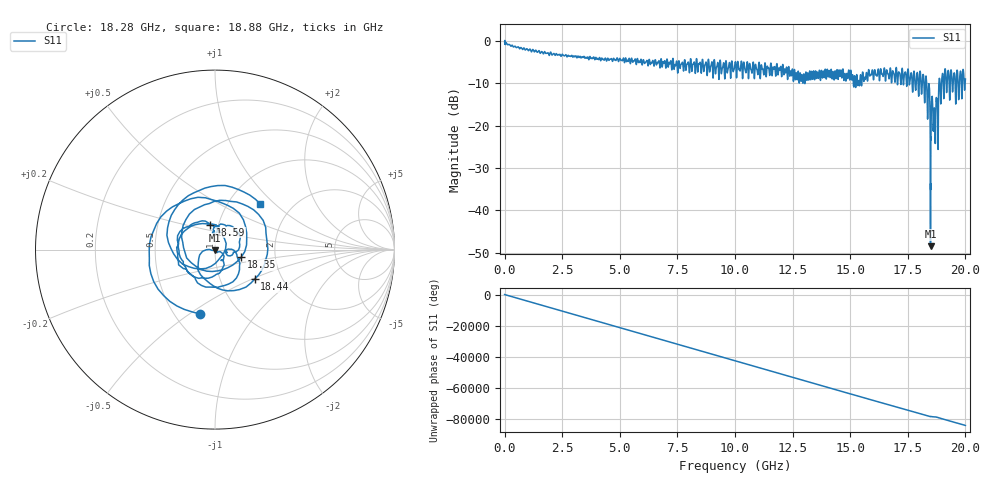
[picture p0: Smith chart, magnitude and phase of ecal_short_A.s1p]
! MS46122B
! 2250307/22442219
! 6/12/2025 7:35:32 AM
! C:\USERS\SPARKY\DOCUMENTS\VNA_DATA\JUNE12_2025\3.1 KELVIN\ECAL-SHORT.S1P
! CHANNEL.1
! TR.MEASUREMENT
! RAW.DATA
# GHZ S RI R 50.0
! FREQ.GHZ  S11RE  S11IM
!; PortSelection: Port_1
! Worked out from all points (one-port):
!   10001 points, 1 MHz to 20 GHz, reference 50 ohm
!   lowest |S11| = -48.4 dB at 18.49 GHz (marker M1), VSWR 1.01, Z = 50.1 - j0.352 ohm
!   |S11| at or under -10 dB: 18.20247 GHz to 18.26557 GHz (63.1 MHz wide, 0.346 % of centre); 18.32 GHz to 18.85 GHz (530.9 MHz wide, 2.86 % of centre); 18.89684 GHz to 18.96658 GHz (69.74 MHz wide, 0.368 % of centre) (the widest 3 of 26)
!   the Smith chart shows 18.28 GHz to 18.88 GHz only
!   S11 on the Smith chart (normalised r, x): 18.28 GHz: 0.66, -0.55; 18.35 GHz: 1.34, -0.11; 18.44 GHz: 1.46, -0.52; 18.59 GHz: 0.92, +0.26; 18.88 GHz: 1.40, +0.82
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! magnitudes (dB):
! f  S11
! 1 MHz  -0.2
! 2.501 GHz  -3.1
! 5.001 GHz  -4.1
! 7.501 GHz  -6.9
! 10 GHz  -5.2
! 12.5 GHz  -6.8
! 12.95 GHz  -9.9
! 15 GHz  -8.2
! 15.32 GHz  -10.0
! 15.88 GHz  -8.0
! 17.5 GHz  -6.8
! 18.1 GHz  -12.4
! 18.28 GHz  -8.7
! 18.35 GHz  -16.3
! 18.44 GHz  -11.2
! 18.49 GHz  -48.4
! 18.55 GHz  -13.4
! 18.59 GHz  -17.0
! 18.73 GHz  -13.7
! 18.81 GHz  -24.6
! 18.88 GHz  -8.9
! 18.94 GHz  -14.5
! 19.19 GHz  -12.1
! 19.65 GHz  -6.9
! 19.71 GHz  -13.8
! 19.77 GHz  -7.6
! 19.84 GHz  -13.4
! 20 GHz  -9.0
